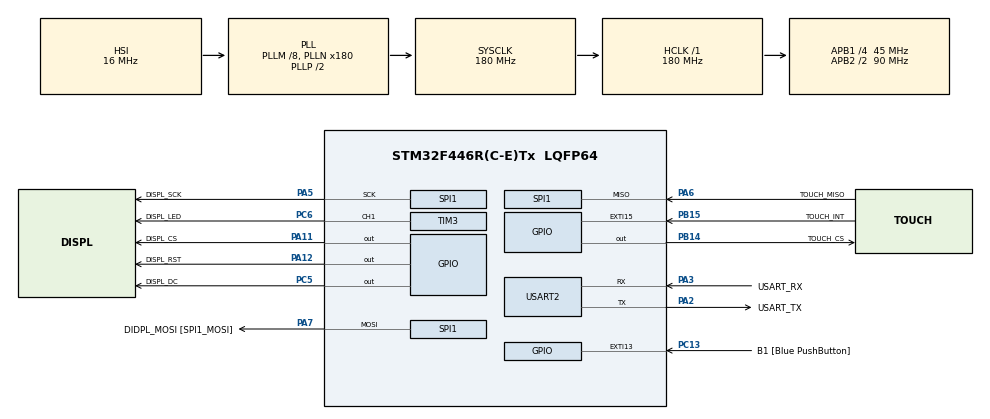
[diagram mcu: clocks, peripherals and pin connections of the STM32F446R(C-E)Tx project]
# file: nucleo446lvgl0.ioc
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Dma.Request0=SPI1_TX
Dma.SPI1_TX.0.Direction=DMA_MEMORY_TO_PERIPH
Dma.SPI1_TX.0.FIFOMode=DMA_FIFOMODE_DISABLE
Dma.SPI1_TX.0.Instance=DMA2_Stream3
Dma.SPI1_TX.0.MemDataAlignment=DMA_MDATAALIGN_BYTE
Dma.SPI1_TX.0.MemInc=DMA_MINC_ENABLE
Dma.SPI1_TX.0.Mode=DMA_NORMAL
Dma.SPI1_TX.0.PeriphDataAlignment=DMA_PDATAALIGN_BYTE
Dma.SPI1_TX.0.PeriphInc=DMA_PINC_DISABLE
Dma.SPI1_TX.0.Priority=DMA_PRIORITY_LOW
Mcu.Family=STM32F4
Mcu.Name=STM32F446R(C-E)Tx
Mcu.Package=LQFP64
NVIC.DMA2_Stream3_IRQn=true\:0\:0\:false\:false\:true\:false\:true\:true
NVIC.EXTI15_10_IRQn=true\:0\:0\:false\:false\:true\:true\:true\:true
NVIC.PriorityGroup=NVIC_PRIORITYGROUP_0
NVIC.SPI1_IRQn=true\:0\:0\:false\:false\:true\:true\:true\:true
PA11.GPIO_Label=DISPL_CS
PA11.Signal=GPIO_Output
PA12.GPIO_Label=DISPL_RST
PA12.Signal=GPIO_Output
PA13.GPIO_Label=TMS
PA13.Mode=Trace_Asynchronous_SW
PA13.Signal=SYS_JTMS-SWDIO
PA14.GPIO_Label=TCK
PA14.Mode=Trace_Asynchronous_SW
PA14.Signal=SYS_JTCK-SWCLK
PA2.GPIO_Label=USART_TX
PA2.Mode=Asynchronous
PA2.Signal=USART2_TX
PA3.GPIO_Label=USART_RX
PA3.Mode=Asynchronous
PA3.Signal=USART2_RX
PA5.GPIO_Label=DISPL_SCK
PA5.Mode=Full_Duplex_Master
PA5.Signal=SPI1_SCK
PA6.GPIO_Label=TOUCH_MISO
PA6.Mode=Full_Duplex_Master
PA6.Signal=SPI1_MISO
PA7.GPIO_Label=DIDPL_MOSI [SPI1_MOSI]
PA7.Mode=Full_Duplex_Master
PA7.Signal=SPI1_MOSI
PB14.GPIO_Label=TOUCH_CS
PB14.Signal=GPIO_Output
PB15.GPIO_Label=TOUCH_INT
PB15.Signal=GPXTI15
PB3.GPIO_Label=SWO
PB3.Mode=Trace_Asynchronous_SW
PB3.Signal=SYS_JTDO-SWO
PC13.GPIO_Label=B1 [Blue PushButton]
PC13.GPIO_ModeDefaultEXTI=GPIO_MODE_IT_FALLING
PC13.Signal=GPXTI13
PC14-OSC32_IN.Mode=LSE-External-Oscillator
PC14-OSC32_IN.Signal=RCC_OSC32_IN
PC15-OSC32_OUT.Mode=LSE-External-Oscillator
PC15-OSC32_OUT.Signal=RCC_OSC32_OUT
PC5.GPIO_Label=DISPL_DC
PC5.Signal=GPIO_Output
PC6.GPIO_Label=DISPL_LED
PC6.Signal=S_TIM3_CH1
PH0-OSC_IN.Mode=HSE-External-Oscillator
PH0-OSC_IN.Signal=RCC_OSC_IN
PH1-OSC_OUT.Mode=HSE-External-Oscillator
PH1-OSC_OUT.Signal=RCC_OSC_OUT
ProjectManager.HeapSize=0x200
ProjectManager.StackSize=0x400
ProjectManager.TargetToolchain=STM32CubeIDE
RCC.AHBFreq_Value=180000000
RCC.APB1CLKDivider=RCC_HCLK_DIV4
RCC.APB1Freq_Value=45000000
RCC.APB1TimFreq_Value=90000000
RCC.APB2CLKDivider=RCC_HCLK_DIV2
RCC.APB2Freq_Value=90000000
RCC.APB2TimFreq_Value=180000000
RCC.CortexFreq_Value=180000000
RCC.FLatency-AdvancedSettings=FLASH_LATENCY_5
RCC.HCLKFreq_Value=180000000
RCC.HSE_VALUE=8000000
RCC.HSI_VALUE=16000000
RCC.PLLM=8
RCC.PLLN=180
RCC.SYSCLKFreq_VALUE=180000000
RCC.SYSCLKSource=RCC_SYSCLKSOURCE_PLLCLK
RCC.USBFreq_Value=180000000
RCC.VCOOutputFreq_Value=360000000
SH.S_TIM3_CH1.0=TIM3_CH1,PWM Generation1 CH1
SPI1.CalculateBaudRate=45.0 MBits/s
SPI1.Direction=SPI_DIRECTION_2LINES
SPI1.Mode=SPI_MODE_MASTER
SPI1.VirtualType=VM_MASTER
STMicroelectronics.X-CUBE-TOUCHGFX.4.24.1.tgfx_buffering_strategy=Partial
STMicroelectronics.X-CUBE-TOUCHGFX.4.24.1.tgfx_custom_height=240
STMicroelectronics.X-CUBE-TOUCHGFX.4.24.1.tgfx_custom_width=320
STMicroelectronics.X-CUBE-TOUCHGFX.4.24.1_IsPackSelfContextualization=true
TIM3.Channel-PWM\ Generation1\ CH1=TIM_CHANNEL_1
TIM3.Period=10-1
TIM3.Prescaler=4500-1
TIM3.TIM_MasterOutputTrigger=TIM_TRGO_UPDATE
USART2.VirtualMode=VM_ASYNC
VP_CRC_VS_CRC.Mode=CRC_Activate
VP_TIM3_VS_ClockSourceINT.Mode=Internal
board=NUCLEO-F446RE

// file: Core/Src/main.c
/* USER CODE BEGIN Header */
/**
  ******************************************************************************
  * @file           : main.c
  * @brief          : Main program body
  ******************************************************************************
  * @attention
  *
  * Copyright (c) 2024 STMicroelectronics.
  * All rights reserved.
  *
  * This software is licensed under terms that can be found in the LICENSE file
  * in the root directory of this software component.
  * If no LICENSE file comes with this software, it is provided AS-IS.
  *
  ******************************************************************************
  */
/* USER CODE END Header */
#include "main.h"

/* USER CODE BEGIN Includes */
#include "lvgl.h"
#include "ui.h"  	//eezstudio
#include "vars.h" 	//eezstudio
//#include "screens.h"
#include <stdbool.h>
#include <stdlib.h> //rand
#include <stdio.h>	//sprintf
/* USER CODE END Includes */

/* USER CODE BEGIN PD */
#define TFT_HOR_RES 320
#define TFT_VER_RES 240

#define BYTES_PER_PIXEL LV_COLOR_FORMAT_GET_SIZE(LV_COLOR_FORMAT_RGB565)
/* USER CODE END PD */

CRC_HandleTypeDef hcrc;

SPI_HandleTypeDef hspi1;
DMA_HandleTypeDef hdma_spi1_tx;

TIM_HandleTypeDef htim3;

UART_HandleTypeDef huart2;

/* USER CODE BEGIN PV */
uint8_t buf1[TFT_HOR_RES*TFT_VER_RES / 30 * BYTES_PER_PIXEL];	//5120
//uint8_t buf1[TFT_HOR_RES*TFT_VER_RES / 20 * BYTES_PER_PIXEL];	//7680
//uint8_t buf1[TFT_HOR_RES*TFT_VER_RES / 15 * BYTES_PER_PIXEL];	//10240
//uint8_t buf1[TFT_HOR_RES*TFT_VER_RES / 10 * BYTES_PER_PIXEL];	//15360
//uint8_t buf1[TFT_HOR_RES*TFT_VER_RES /  3 * BYTES_PER_PIXEL]; //51200 bytes

//uint8_t buf2[TFT_HOR_RES*TFT_VER_RES /  3 * BYTES_PER_PIXEL];  //51200 bytes

static lv_obj_t * label;

typedef struct {
	uint8_t isTouch;
	uint16_t Xpos;
	uint16_t Ypos;
}sTouchData;

sTouchData tData;

//extern volatile uint8_t Touch_PenDown;

bool B1State = true;
bool B1StateNew = false;

extern objects_t objects;

const char *get_var_therm_temp();  //get thermistor

lv_display_t * display1;

/* USER CODE END PV */

void SystemClock_Config(void);
static void MX_GPIO_Init(void);
static void MX_DMA_Init(void);
static void MX_USART2_UART_Init(void);
static void MX_CRC_Init(void);
static void MX_SPI1_Init(void);
static void MX_TIM3_Init(void);

/* USER CODE BEGIN 0 */
int myrandom(int min, int max){
   return (rand() % (max + 1 - min) + min);
}

const char *get_var_therm_temp()  //get thermistor
{
	static int count = 0;
	static char tempbuf[10];

	count++;
	if(count > 60 * 10 * 5)
	{
		count = 0;

	int val = myrandom(200, 225);

	float temp = val/10.0;

	lv_arc_set_value(objects.arc, temp);

	sprintf(tempbuf, "%0.1f", temp);
	}
	return tempbuf;

}

static lv_obj_t * spinbox;

static void lv_spinbox_increment_event_cb(lv_event_t * e)
{
    lv_event_code_t code = lv_event_get_code(e);
    if(code == LV_EVENT_SHORT_CLICKED || code  == LV_EVENT_LONG_PRESSED_REPEAT) {
        lv_spinbox_increment(spinbox);
    }
}

static void lv_spinbox_decrement_event_cb(lv_event_t * e)
{
    lv_event_code_t code = lv_event_get_code(e);
    if(code == LV_EVENT_SHORT_CLICKED || code == LV_EVENT_LONG_PRESSED_REPEAT) {
        lv_spinbox_decrement(spinbox);
    }
}

void action_switch_changed(lv_event_t * e)
{

    lv_event_code_t code = lv_event_get_code(e);
    lv_obj_t * obj = lv_event_get_target(e);

    if(objects.swred == obj)
    {
	if(lv_obj_has_state(objects.swred, LV_STATE_CHECKED))
		lv_led_set_brightness(objects.redled, 0);
	else
		lv_led_set_brightness(objects.redled, 255);
    }

    if(objects.swgreen == obj)
    {
	if(lv_obj_has_state(objects.swgreen, LV_STATE_CHECKED))
		lv_led_set_brightness(objects.greenled, 0);
	else
		lv_led_set_brightness(objects.greenled, 255);
    }

    if(objects.swblue == obj)
    {
	if(lv_obj_has_state(objects.swblue, LV_STATE_CHECKED))
		lv_led_set_brightness(objects.blueled, 0);
	else
		lv_led_set_brightness(objects.blueled, 255);
    }
}

void tft_flush_cb(lv_display_t * display, const lv_area_t * area, uint8_t * px_map)
{

    uint16_t height = area->y2 - area->y1 + 1;
    uint16_t width = area->x2 - area->x1 + 1;

	Displ_SetAddressWindow(area->x1, area->y1, area->x2, area->y2);

	uint16_t * buf16 = (uint16_t *)px_map; /* Let's say it's a 16 bit (RGB565) display */

	   //NON DMA - 20 fps at 80-90% CPU

	   /* The most simple case (also the slowest) to send all rendered pixels to the screen one-by-one. */

//    int32_t x, y;
//   for(y = area->y1; y <= area->y2; y++) {
//        for(x = area->x1; x <= area->x2; x++) {
//        	Displ_Pixel(x, y, *buf16);
//            buf16++;
//        }
//   }

	   //DMA - 60 fps at 3-5% CPU

////    	  ConvHL((uint8_t *)buf16, (int32_t)width*height);

      Displ_Transmit(SPI_DATA, (uint8_t *)buf16, height*width*2, 1 );  	//1 swaps bytes for 8 bit spi
    																	//*2 sending bytes not uint16_t

    /* IMPORTANT!!!
     * Inform LVGL that flushing is complete so buffer can be modified again. */
    lv_display_flush_ready(display);

}

void my_input_read(lv_indev_t * indev, lv_indev_data_t * data)
{
    if(tData.isTouch) {
        data->point.x = tData.Xpos;
        data->point.y = tData.Ypos;
        data->state = LV_INDEV_STATE_PRESSED;
    } else {
        data->state = LV_INDEV_STATE_RELEASED;
    }
}

static void slider_event_cb(lv_event_t * e)
{
    lv_obj_t * slider = lv_event_get_target(e);

    /*Refresh the text*/
    lv_label_set_text_fmt(label, "%"LV_PRId32, lv_slider_get_value(slider));
    lv_obj_align_to(label, slider, LV_ALIGN_OUT_TOP_MID, 0, -15);    /*Align top of the slider*/

}

/* USER CODE END 0 */

int main(void)
{

  /* MCU Configuration--------------------------------------------------------*/

  /* Reset of all peripherals, Initializes the Flash interface and the Systick. */
  HAL_Init();

  /* Configure the system clock */
  SystemClock_Config();

  /* Initialize all configured peripherals */
  MX_GPIO_Init();
  MX_DMA_Init();
  MX_USART2_UART_Init();
  MX_CRC_Init();
  MX_SPI1_Init();
  MX_TIM3_Init();
  /* USER CODE BEGIN 2 */
  Displ_Init(Displ_Orientat_90);			// initialize display controller - set orientation parameter as per your needs
  Displ_CLS(GREEN);							// clear the screen - BLACK or any other color you prefer
  Displ_BackLight('I');  					// initialize backlight

  //setup lvgl
  lv_init();
  lv_tick_set_cb(HAL_GetTick);

  //mel
  display1 = lv_display_create(TFT_HOR_RES, TFT_VER_RES);

  lv_display_set_buffers(display1, buf1, NULL, sizeof(buf1), LV_DISPLAY_RENDER_MODE_PARTIAL);
//mel buf2 instead of NULL

  lv_display_set_flush_cb(display1, tft_flush_cb);

  /* Create and set up at least one display before you register any input devices. */
  lv_indev_t * indev = lv_indev_create();        /* Create input device connected to Default Display. */

  lv_indev_set_type(indev, LV_INDEV_TYPE_POINTER);

  lv_indev_set_read_cb(indev, my_input_read);    /* Set driver function. */

  //mel for eezstudio
  ui_init();

//  create_screen_main();

  /*Change the active screen's background color*/
//  lv_obj_set_style_bg_color(lv_screen_active(), lv_color_hex(0xFF0000), LV_PART_MAIN);

//  spinbox = lv_spinbox_create(lv_screen_active());
//  lv_spinbox_set_range(spinbox, -1000, 25000);
//  lv_spinbox_set_digit_format(spinbox, 5, 2);
//  lv_spinbox_step_prev(spinbox);
//  lv_obj_set_width(spinbox, 100);
//  lv_obj_center(spinbox);
//
//  int32_t h = lv_obj_get_height(spinbox);
//
//  lv_obj_t * btn = lv_button_create(lv_screen_active());
//  lv_obj_set_size(btn, h, h);
//  lv_obj_align_to(btn, spinbox, LV_ALIGN_OUT_RIGHT_MID, 5, 0);
//  lv_obj_set_style_bg_image_src(btn, LV_SYMBOL_PLUS, 0);
//  lv_obj_add_event_cb(btn, lv_spinbox_increment_event_cb, LV_EVENT_ALL,  NULL);
//
//  btn = lv_button_create(lv_screen_active());
//  lv_obj_set_size(btn, h, h);
//  lv_obj_align_to(btn, spinbox, LV_ALIGN_OUT_LEFT_MID, -5, 0);
//  lv_obj_set_style_bg_image_src(btn, LV_SYMBOL_MINUS, 0);
//  lv_obj_add_event_cb(btn, lv_spinbox_decrement_event_cb, LV_EVENT_ALL, NULL);

  lv_obj_t * label1 = lv_label_create(lv_screen_active());
  lv_label_set_text_fmt(label1, "Value: %s", get_var_therm_temp() );

  /* USER CODE END 2 */

  /* Infinite loop */
  /* USER CODE BEGIN WHILE */
  while (1)
  {
	  if(HAL_GPIO_ReadPin(B1_GPIO_Port, B1_Pin))
	  {
		  B1StateNew = false;
//		  lv_obj_add_flag(objects.led_button, LV_OBJ_FLAG_HIDDEN);  //hide
//		  lv_obj_invalidate(objects.led_off);
//		  lv_imagebutton_set_state(objects.led_button, LV_IMAGEBUTTON_STATE_PRESSED);
//		  lv_obj_invalidate(objects.led_button);

//		  lv_led_set_brightness(objects.obj1, 0);

	  }
	  else
	  {
		  B1StateNew = true;
//		  lv_imagebutton_set_state(objects.led_button, LV_IMAGEBUTTON_STATE_RELEASED);
//		  lv_obj_clear_flag(objects.led_button, LV_OBJ_FLAG_HIDDEN);  //show
//		  lv_obj_invalidate(objects.led_button);
//		  lv_label_set_text_fmt(label1, "Value: %s", get_var_therm_temp() );

//		  lv_led_set_brightness(objects.obj1, 255);
	  }

	  if(B1State != B1StateNew )
	  {
		  B1State = B1StateNew;
		  lv_led_set_brightness(objects.blueled, B1State ? 255 : 0);

	  }

	  Touch_GetXYtouch(&tData.Xpos, &tData.Ypos, &tData.isTouch);

	  ui_tick();

	  lv_timer_handler();

    /* USER CODE END WHILE */

  }
}

void SystemClock_Config(void)
{
  RCC_OscInitTypeDef RCC_OscInitStruct = {0};
  RCC_ClkInitTypeDef RCC_ClkInitStruct = {0};

  /** Configure the main internal regulator output voltage
  */
  __HAL_RCC_PWR_CLK_ENABLE();
  __HAL_PWR_VOLTAGESCALING_CONFIG(PWR_REGULATOR_VOLTAGE_SCALE1);

  /** Initializes the RCC Oscillators according to the specified parameters
  * in the RCC_OscInitTypeDef structure.
  */
  RCC_OscInitStruct.OscillatorType = RCC_OSCILLATORTYPE_HSI;
  RCC_OscInitStruct.HSIState = RCC_HSI_ON;
  RCC_OscInitStruct.HSICalibrationValue = RCC_HSICALIBRATION_DEFAULT;
  RCC_OscInitStruct.PLL.PLLState = RCC_PLL_ON;
  RCC_OscInitStruct.PLL.PLLSource = RCC_PLLSOURCE_HSI;
  RCC_OscInitStruct.PLL.PLLM = 8;
  RCC_OscInitStruct.PLL.PLLN = 180;
  RCC_OscInitStruct.PLL.PLLP = RCC_PLLP_DIV2;
  RCC_OscInitStruct.PLL.PLLQ = 2;
  RCC_OscInitStruct.PLL.PLLR = 2;
  if (HAL_RCC_OscConfig(&RCC_OscInitStruct) != HAL_OK)
  {
    Error_Handler();
  }

  /** Activate the Over-Drive mode
  */
  if (HAL_PWREx_EnableOverDrive() != HAL_OK)
  {
    Error_Handler();
  }

  /** Initializes the CPU, AHB and APB buses clocks
  */
  RCC_ClkInitStruct.ClockType = RCC_CLOCKTYPE_HCLK|RCC_CLOCKTYPE_SYSCLK
                              |RCC_CLOCKTYPE_PCLK1|RCC_CLOCKTYPE_PCLK2;
  RCC_ClkInitStruct.SYSCLKSource = RCC_SYSCLKSOURCE_PLLCLK;
  RCC_ClkInitStruct.AHBCLKDivider = RCC_SYSCLK_DIV1;
  RCC_ClkInitStruct.APB1CLKDivider = RCC_HCLK_DIV4;
  RCC_ClkInitStruct.APB2CLKDivider = RCC_HCLK_DIV2;

  if (HAL_RCC_ClockConfig(&RCC_ClkInitStruct, FLASH_LATENCY_5) != HAL_OK)
  {
    Error_Handler();
  }
}

static void MX_CRC_Init(void)
{

  hcrc.Instance = CRC;
  if (HAL_CRC_Init(&hcrc) != HAL_OK)
  {
    Error_Handler();
  }

}

static void MX_SPI1_Init(void)
{

  /* SPI1 parameter configuration*/
  hspi1.Instance = SPI1;
  hspi1.Init.Mode = SPI_MODE_MASTER;
  hspi1.Init.Direction = SPI_DIRECTION_2LINES;
  hspi1.Init.DataSize = SPI_DATASIZE_8BIT;
  hspi1.Init.CLKPolarity = SPI_POLARITY_LOW;
  hspi1.Init.CLKPhase = SPI_PHASE_1EDGE;
  hspi1.Init.NSS = SPI_NSS_SOFT;
  hspi1.Init.BaudRatePrescaler = SPI_BAUDRATEPRESCALER_2;
  hspi1.Init.FirstBit = SPI_FIRSTBIT_MSB;
  hspi1.Init.TIMode = SPI_TIMODE_DISABLE;
  hspi1.Init.CRCCalculation = SPI_CRCCALCULATION_DISABLE;
  hspi1.Init.CRCPolynomial = 10;
  if (HAL_SPI_Init(&hspi1) != HAL_OK)
  {
    Error_Handler();
  }

}

static void MX_TIM3_Init(void)
{

  TIM_ClockConfigTypeDef sClockSourceConfig = {0};
  TIM_MasterConfigTypeDef sMasterConfig = {0};
  TIM_OC_InitTypeDef sConfigOC = {0};

  htim3.Instance = TIM3;
  htim3.Init.Prescaler = 4500-1;
  htim3.Init.CounterMode = TIM_COUNTERMODE_UP;
  htim3.Init.Period = 10-1;
  htim3.Init.ClockDivision = TIM_CLOCKDIVISION_DIV1;
  htim3.Init.AutoReloadPreload = TIM_AUTORELOAD_PRELOAD_DISABLE;
  if (HAL_TIM_Base_Init(&htim3) != HAL_OK)
  {
    Error_Handler();
  }
  sClockSourceConfig.ClockSource = TIM_CLOCKSOURCE_INTERNAL;
  if (HAL_TIM_ConfigClockSource(&htim3, &sClockSourceConfig) != HAL_OK)
  {
    Error_Handler();
  }
  if (HAL_TIM_PWM_Init(&htim3) != HAL_OK)
  {
    Error_Handler();
  }
  sMasterConfig.MasterOutputTrigger = TIM_TRGO_UPDATE;
  sMasterConfig.MasterSlaveMode = TIM_MASTERSLAVEMODE_DISABLE;
  if (HAL_TIMEx_MasterConfigSynchronization(&htim3, &sMasterConfig) != HAL_OK)
  {
    Error_Handler();
  }
  sConfigOC.OCMode = TIM_OCMODE_PWM1;
  sConfigOC.Pulse = 0;
  sConfigOC.OCPolarity = TIM_OCPOLARITY_HIGH;
  sConfigOC.OCFastMode = TIM_OCFAST_DISABLE;
  if (HAL_TIM_PWM_ConfigChannel(&htim3, &sConfigOC, TIM_CHANNEL_1) != HAL_OK)
  {
    Error_Handler();
  }
  HAL_TIM_MspPostInit(&htim3);

}

static void MX_USART2_UART_Init(void)
{

  huart2.Instance = USART2;
  huart2.Init.BaudRate = 115200;
  huart2.Init.WordLength = UART_WORDLENGTH_8B;
  huart2.Init.StopBits = UART_STOPBITS_1;
  huart2.Init.Parity = UART_PARITY_NONE;
  huart2.Init.Mode = UART_MODE_TX_RX;
  huart2.Init.HwFlowCtl = UART_HWCONTROL_NONE;
  huart2.Init.OverSampling = UART_OVERSAMPLING_16;
  if (HAL_UART_Init(&huart2) != HAL_OK)
  {
    Error_Handler();
  }

}

static void MX_DMA_Init(void)
{

  /* DMA controller clock enable */
  __HAL_RCC_DMA2_CLK_ENABLE();

  /* DMA interrupt init */
  /* DMA2_Stream3_IRQn interrupt configuration */
  HAL_NVIC_SetPriority(DMA2_Stream3_IRQn, 0, 0);
  HAL_NVIC_EnableIRQ(DMA2_Stream3_IRQn);

}

static void MX_GPIO_Init(void)
{
  GPIO_InitTypeDef GPIO_InitStruct = {0};

  /* GPIO Ports Clock Enable */
  __HAL_RCC_GPIOC_CLK_ENABLE();
  __HAL_RCC_GPIOH_CLK_ENABLE();
  __HAL_RCC_GPIOA_CLK_ENABLE();
  __HAL_RCC_GPIOB_CLK_ENABLE();

  /*Configure GPIO pin Output Level */
  HAL_GPIO_WritePin(DISPL_DC_GPIO_Port, DISPL_DC_Pin, GPIO_PIN_RESET);

  /*Configure GPIO pin Output Level */
  HAL_GPIO_WritePin(TOUCH_CS_GPIO_Port, TOUCH_CS_Pin, GPIO_PIN_RESET);

  /*Configure GPIO pin Output Level */
  HAL_GPIO_WritePin(GPIOA, DISPL_CS_Pin|DISPL_RST_Pin, GPIO_PIN_RESET);

  /*Configure GPIO pin : B1_Pin */
  GPIO_InitStruct.Pin = B1_Pin;
  GPIO_InitStruct.Mode = GPIO_MODE_IT_FALLING;
  GPIO_InitStruct.Pull = GPIO_NOPULL;
  HAL_GPIO_Init(B1_GPIO_Port, &GPIO_InitStruct);

  /*Configure GPIO pin : DISPL_DC_Pin */
  GPIO_InitStruct.Pin = DISPL_DC_Pin;
  GPIO_InitStruct.Mode = GPIO_MODE_OUTPUT_PP;
  GPIO_InitStruct.Pull = GPIO_NOPULL;
  GPIO_InitStruct.Speed = GPIO_SPEED_FREQ_LOW;
  HAL_GPIO_Init(DISPL_DC_GPIO_Port, &GPIO_InitStruct);

  /*Configure GPIO pin : TOUCH_CS_Pin */
  GPIO_InitStruct.Pin = TOUCH_CS_Pin;
  GPIO_InitStruct.Mode = GPIO_MODE_OUTPUT_PP;
  GPIO_InitStruct.Pull = GPIO_NOPULL;
  GPIO_InitStruct.Speed = GPIO_SPEED_FREQ_LOW;
  HAL_GPIO_Init(TOUCH_CS_GPIO_Port, &GPIO_InitStruct);

  /*Configure GPIO pin : TOUCH_INT_Pin */
  GPIO_InitStruct.Pin = TOUCH_INT_Pin;
  GPIO_InitStruct.Mode = GPIO_MODE_IT_RISING;
  GPIO_InitStruct.Pull = GPIO_NOPULL;
  HAL_GPIO_Init(TOUCH_INT_GPIO_Port, &GPIO_InitStruct);

  /*Configure GPIO pins : DISPL_CS_Pin DISPL_RST_Pin */
  GPIO_InitStruct.Pin = DISPL_CS_Pin|DISPL_RST_Pin;
  GPIO_InitStruct.Mode = GPIO_MODE_OUTPUT_PP;
  GPIO_InitStruct.Pull = GPIO_NOPULL;
  GPIO_InitStruct.Speed = GPIO_SPEED_FREQ_LOW;
  HAL_GPIO_Init(GPIOA, &GPIO_InitStruct);

  /* EXTI interrupt init*/
  HAL_NVIC_SetPriority(EXTI15_10_IRQn, 0, 0);
  HAL_NVIC_EnableIRQ(EXTI15_10_IRQn);

}

void Error_Handler(void)
{
  __disable_irq();
  while (1)
  {
  }
}
